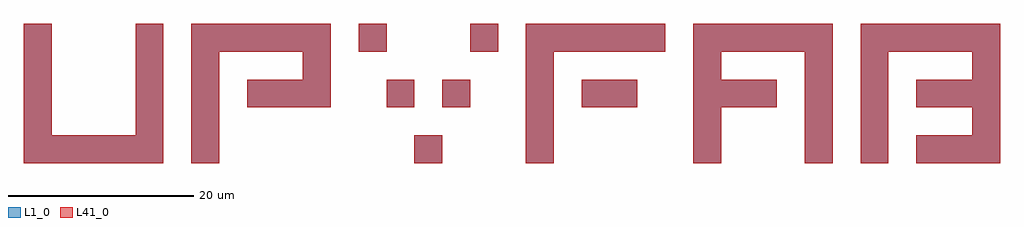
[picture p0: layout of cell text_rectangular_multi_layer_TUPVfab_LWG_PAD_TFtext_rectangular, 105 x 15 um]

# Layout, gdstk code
import gdstk
lib = gdstk.Library(unit=1e-6, precision=1e-09)
def R(c, l, rs):  # rectangles x0, y0, x1, y1
    for r in rs: c.add(gdstk.rectangle(r[:2], r[2:], *l))
def P(c, l, *ps):  # polygons
    for p in ps: c.add(gdstk.Polygon(p, *l))
L1_0 = (1, 0)
L41_0 = (41, 0)

text_rectangular_tupvfab = lib.new_cell('text_rectangular_TUPVfab_S3_Jleft_LWG')
R(text_rectangular_tupvfab, L1_0, [(42,0,45,3), (39,6,42,9), (45,6,48,9), (60,6,66,9), (36,12,39,15), (48,12,51,15)])
P(text_rectangular_tupvfab, L1_0, [(0,0),(0,15),(3,15),(3,3),(12,3),(12,15),(15,15),(15,0)],
  [(18,0),(18,15),(33,15),(33,6),(24,6),(24,9),(30,9),(30,12),(21,12),(21,0)],
  [(54,0),(54,15),(69,15),(69,12),(57,12),(57,0)],
  [(72,0),(72,15),(87,15),(87,0),(84,0),(84,12),(75,12),(75,9),(81,9),(81,6),(75,6),(75,0)],
  [(90,0),(90,15),(105,15),(105,0),(96,0),(96,3),(102,3),(102,6),(96,6),(96,9),(102,9),(102,12),(93,12),(93,0)])

c_text_rectangular_tupvfab = lib.new_cell('text_rectangular_TUPVfab_S3_Jleft_LPAD')
R(c_text_rectangular_tupvfab, L41_0, [(42,0,45,3), (39,6,42,9), (45,6,48,9), (60,6,66,9), (36,12,39,15), (48,12,51,15)])
P(c_text_rectangular_tupvfab, L41_0, [(0,0),(0,15),(3,15),(3,3),(12,3),(12,15),(15,15),(15,0)],
  [(18,0),(18,15),(33,15),(33,6),(24,6),(24,9),(30,9),(30,12),(21,12),(21,0)],
  [(54,0),(54,15),(69,15),(69,12),(57,12),(57,0)],
  [(72,0),(72,15),(87,15),(87,0),(84,0),(84,12),(75,12),(75,9),(81,9),(81,6),(75,6),(75,0)],
  [(90,0),(90,15),(105,15),(105,0),(96,0),(96,3),(102,3),(102,6),(96,6),(96,9),(102,9),(102,12),(93,12),(93,0)])

text_rectangular_multi_l = lib.new_cell('text_rectangular_multi_layer_TUPVfab_LWG_PAD_TFtext_rectangular')
text_rectangular_multi_l.add(gdstk.Reference(text_rectangular_tupvfab, (0,0)))
text_rectangular_multi_l.add(gdstk.Reference(c_text_rectangular_tupvfab, (0,0)))

lib.write_gds('text_rectangular_multi_layer_TUPVfab_LWG_PAD_TFtext_rectangular.gds')
